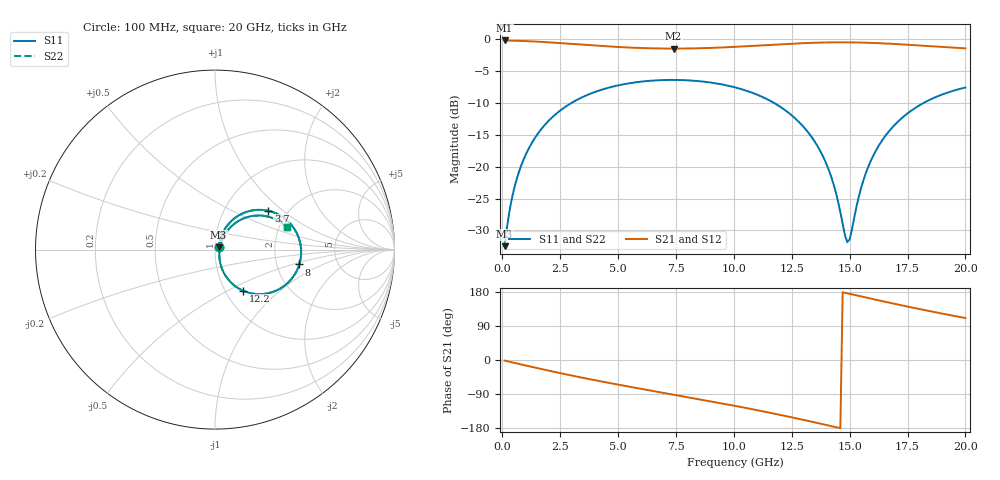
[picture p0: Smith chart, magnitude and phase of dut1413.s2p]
! Touchstone file exported from HFSS 2026.1.0
!  File:  C:/ffzhzh/LocalFiles/Ansys_Project_Files/temp_train_TSV_RDL_1413_1783353212_50076.aedt
!  Generated:  12:08:15 AM Jul  7, 2026
!  Design:  TSV_RDL
!  Project:  temp_train_TSV_RDL_1413_1783353212_50076
! Variables:
!  h_bsmrdl = 3.29um
!  h_ox = 20um
!  h_rdl = 5um
!  h_sub = 71.94um
!  h_tmrdl = 5.9um
!  h_tsv = 71.94um
!  h_via = 3um
!  l_bsmrdl = 484.55um
!  l_sub = 4250.55um
!  l_tmrdl = 568.37um
!  m_sub = 200um
!  pitch = 40.47um
!  r_tsv = 3.61um
!  s_tmrdl = 10um
!  w_bsmrdl = 17.83um
!  w_sub = 500um
!  w_tmrdl = 23.31um
!  x_tsv_center1 = 580.025um
!  x_tsv_center2 = 1082.405um
!  x_tsv_center3 = 1674.085um
!  x_tsv_center4 = 2176.465um
!  x_tsv_center5 = 2768.145um
!  x_tsv_center6 = 3270.525um
# GHz S MA R 50.000000
! Terminal data exported
! Port[1] = TM_RDL1_1_T1
! Port[2] = TM_RDL5_1_T1
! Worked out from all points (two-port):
!   200 points, 100 MHz to 20 GHz, reference 50 ohm
!   highest |S21| = -0.17 dB at 100 MHz (marker M1); lowest = -1.4 dB at 7.4 GHz (marker M2)
!   |S21| within 3 dB of the highest: start of sweep to end of sweep
!   lowest |S11| = -32.5 dB at 100 MHz (marker M3), VSWR 1.05, Z = 52 + j1.34 ohm
!   |S11| at or under -10 dB: start of sweep to 2.979 GHz; 11.74 GHz to 18.19 GHz (6.446 GHz wide, 43.1 % of centre)
!   |S22| runs from -32.5 to -6.4 dB; largest |S21 - S12| = 3.9e-14
!   S11 on the Smith chart (normalised r, x): 100 MHz: 1.04, +0.03; 3.7 GHz: 1.60, +0.80; 8 GHz: 2.68, -0.57; 12.2 GHz: 1.21, -0.60; 20 GHz: 2.19, +0.66
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0.1  0.02378 32.8  0.9803 -1.5  0.9803 -1.5  0.02378 32.8
! Gamma 0 0 0 0
! Port Impedance 50 0 50 0
0.3  0.04372 56.7  0.9782 -4.4  0.9782 -4.4  0.04372 56.7
0.5  0.06602 63.3  0.9761 -7.3  0.9761 -7.3  0.06602 63.3
1.2  0.1454 63.4  0.9657 -17.1  0.9657 -17.1  0.1454 63.4
2.2  0.2486 53.3  0.9425 -30.7  0.9425 -30.7  0.2486 53.3
3.5  0.3546 38.3  0.9065 -47.3  0.9065 -47.3  0.3546 38.3
3.7  0.3679 36.0  0.9011 -49.7  0.9011 -49.7  0.3679 36.0
5.2  0.4426 19.4  0.8669 -67.2  0.8669 -67.2  0.4426 19.4
6.8  0.4779 2.5  0.8481 -84.9  0.8481 -84.9  0.4779 2.5
7.4  0.4803 -3.7  0.8465 -91.4  0.8465 -91.4  0.4803 -3.7
8  0.4768 -10.0  0.8479 -98.0  0.8479 -98.0  0.4768 -9.9
10.1  0.4175 -32.2  0.8742 -121.6  0.8742 -121.6  0.4175 -32.2
12.2  0.2793 -55.5  0.9187 -147.4  0.9187 -147.4  0.2793 -55.4
13.4  0.1669 -67.4  0.9395 -163.4  0.9395 -163.4  0.167 -67.3
14.2  0.08389 -69.1  0.9467 -174.3  0.9467 -174.3  0.08395 -68.9
14.9  0.02559 -12.0  0.9474 176.0  0.9474 176.0  0.02589 -11.8
15  0.02686 11.0  0.947 174.6  0.947 174.6  0.02715 10.8
15.4  0.05851 51.3  0.9444 169.1  0.9444 169.1  0.05866 51.0
15.7  0.08901 56.5  0.9413 165.0  0.9413 165.0  0.08912 56.3
16.7  0.1899 52.3  0.925 151.4  0.925 151.4  0.1899 52.2
18.1  0.3098 37.9  0.8927 133.4  0.8927 133.4  0.3098 37.8
20  0.4186 17.4  0.8504 110.7  0.8504 110.7  0.4186 17.3
